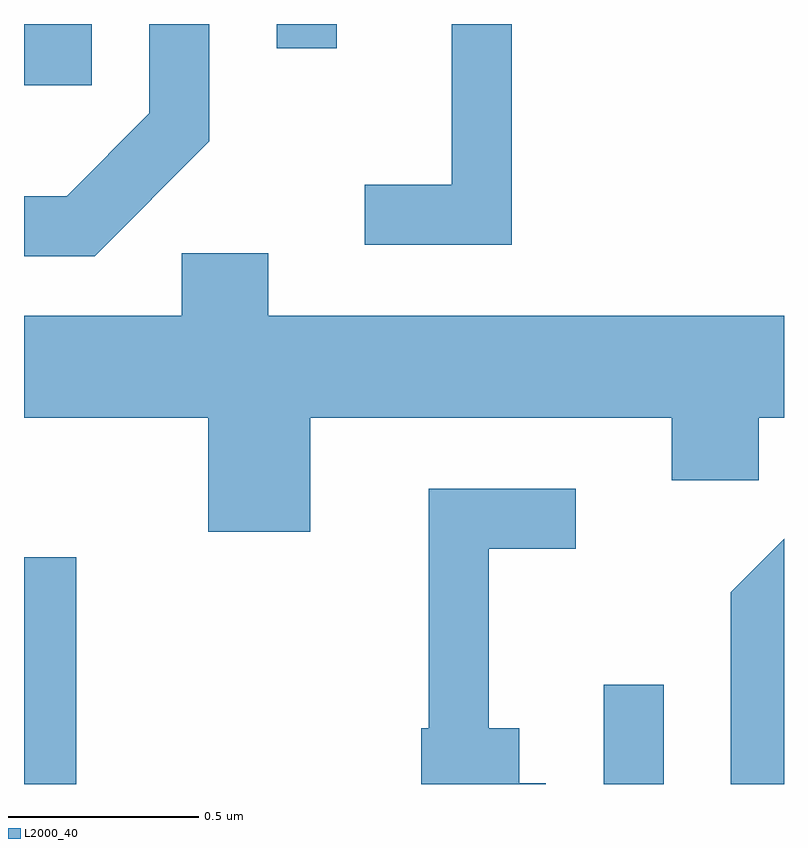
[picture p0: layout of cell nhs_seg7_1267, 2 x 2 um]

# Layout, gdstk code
import gdstk
lib = gdstk.Library(unit=1e-6, precision=1e-09)
def R(c, l, rs):  # rectangles x0, y0, x1, y1
    for r in rs: c.add(gdstk.rectangle(r[:2], r[2:], *l))
def P(c, l, *ps):  # polygons
    for p in ps: c.add(gdstk.Polygon(p, *l))
L2000_40 = (2000, 40)

nhs_seg7_1267 = lib.new_cell('nhs_seg7_1267')
R(nhs_seg7_1267, L2000_40, [(194.611,1702.252,194.749,1702.849), (196.136,1702.252,196.294,1702.513), (194.611,1704.091,194.789,1704.252), (195.276,1704.188,195.434,1704.252)])
P(nhs_seg7_1267, L2000_40, [(195.099,1703.944),(195.099,1704.252),(194.941,1704.252),(194.941,1704.017),(194.724,1703.799),(194.611,1703.799),(194.611,1703.641),(194.797,1703.641)],
  [(195.894,1704.252),(195.736,1704.252),(195.736,1703.829),(195.508,1703.829),(195.508,1703.671),(195.894,1703.671)],
  [(195.364,1703.216),(196.316,1703.216),(196.316,1703.051),(196.544,1703.051),(196.544,1703.216),(196.611,1703.216),(196.611,1703.484),(195.254,1703.484),(195.254,1703.649),(195.026,1703.649),(195.026,1703.484),(194.611,1703.484),(194.611,1703.216),(195.096,1703.216),(195.096,1702.916),(195.364,1702.916)],
  [(195.984,1702.254),(195.914,1702.254),(195.914,1702.399),(195.834,1702.399),(195.834,1702.871),(196.063,1702.871),(196.063,1703.029),(195.676,1703.029),(195.676,1702.399),(195.656,1702.399),(195.656,1702.252),(195.984,1702.252)],
  [(196.611,1702.897),(196.471,1702.757),(196.471,1702.252),(196.611,1702.252)])

lib.write_gds('nhs_seg7_1267.gds')
